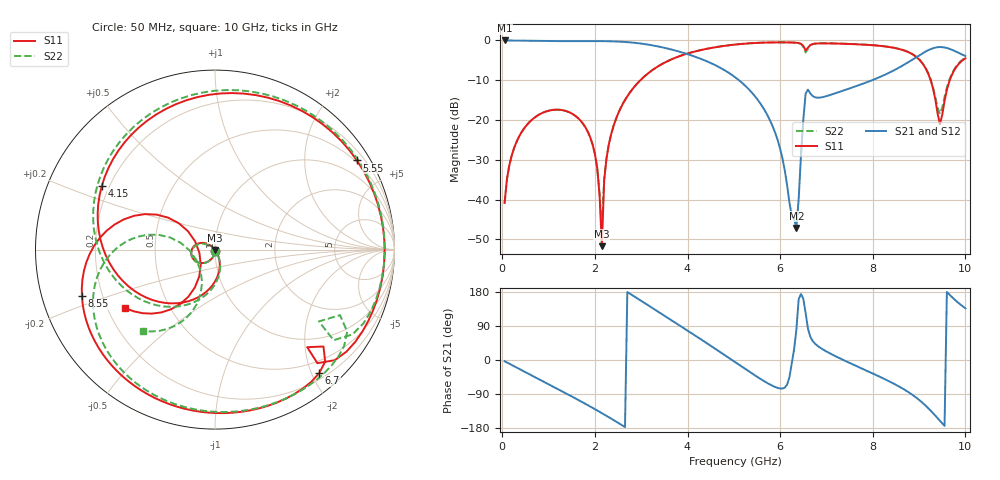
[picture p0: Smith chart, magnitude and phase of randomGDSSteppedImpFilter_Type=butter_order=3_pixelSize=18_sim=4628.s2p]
! freq	dB(S11)	phase(S11)	dB(S12)	phase(S12)
!  dB(S21)	phase(S21)	dB(S22)	phase(S22)
!S-par simulation data
#  GHz  S  DB  R 50
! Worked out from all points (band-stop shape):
!   200 points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, 50 MHz to 10 GHz, reference 50 ohm
!   highest |S21| = -0.01 dB at 50 MHz (marker M1); lowest = -47.1 dB at 6.35 GHz (marker M2)
!   |S21| within 3 dB of the highest: start of sweep to 3.877 GHz; 9.109 GHz to 9.835 GHz (725.9 MHz wide, 7.66 % of centre)
!   lowest |S11| = -51.7 dB at 2.15 GHz (marker M3), VSWR 1.01, Z = 50.1 - j0.228 ohm
!   |S11| at or under -10 dB: start of sweep to 2.982 GHz; 9.25 GHz to 9.664 GHz (413.6 MHz wide, 4.37 % of centre)
!   |S22| runs from -47.0 to -0.5 dB; largest |S21 - S12| = 0
!   S11 on the Smith chart (normalised r, x): 50 MHz: 1.00, -0.02; 4.15 GHz: 0.17, +0.25; 5.55 GHz: 0.44, +3.42; 6.7 GHz: 0.29, -2.12; 8.55 GHz: 0.12, -0.17; 10 GHz: 0.27, -0.28
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0.05  -40.86 -92.0  -0.01 -3.2  -0.01 -3.2  -40.87 -92.0
0.25  -27.21 -106.1  -0.04 -16.1  -0.04 -16.1  -27.21 -105.7
0.6  -20.38 -129.4  -0.09 -38.5  -0.09 -38.5  -20.38 -128.5
1.75  -21.05 155.4  -0.17 -112.7  -0.17 -112.7  -21.06 159.1
2.05  -32.11 135.1  -0.17 -133.2  -0.17 -133.2  -32.10 144.6
2.15  -51.74 -61.5  -0.18 -140.3  -0.18 -140.3  -47.01 -102.4
2.2  -35.22 -57.6  -0.18 -143.8  -0.18 -143.8  -34.94 -64.6
2.4  -21.60 -71.3  -0.24 -158.3  -0.24 -158.3  -21.56 -70.3
3.4  -6.26 -149.1  -1.60 124.8  -1.60 124.8  -6.25 -143.8
4.15  -2.81 150.7  -4.04 65.7  -4.04 65.7  -2.80 158.6
5.05  -1.01 75.1  -9.45 -7.6  -9.45 -7.6  -1.00 86.1
5.55  -0.59 32.1  -15.48 -48.1  -15.48 -48.1  -0.59 44.1
5.95  -0.49 -1.1  -25.21 -73.8  -25.21 -73.8  -0.48 11.1
6.35  -0.58 -33.3  -47.13 78.9  -47.13 78.9  -0.60 -21.7
6.55  -2.52 -46.6  -13.40 124.2  -13.40 124.2  -3.05 -34.7
6.7  -0.91 -49.9  -13.96 50.6  -13.96 50.6  -0.94 -36.6
7.45  -0.87 -98.0  -12.26 -4.9  -12.26 -4.9  -0.85 -85.6
8.35  -1.65 -148.3  -8.15 -56.0  -8.15 -56.0  -1.62 -134.8
8.55  -2.09 -160.6  -6.94 -68.8  -6.94 -68.8  -2.06 -146.6
9.15  -7.20 153.0  -2.74 -121.4  -2.74 -121.4  -7.12 170.7
9.45  -21.03 -168.8  -1.66 -160.3  -1.66 -160.3  -18.50 -150.8
10  -4.49 -146.9  -3.92 136.3  -3.92 136.3  -4.35 -131.6
